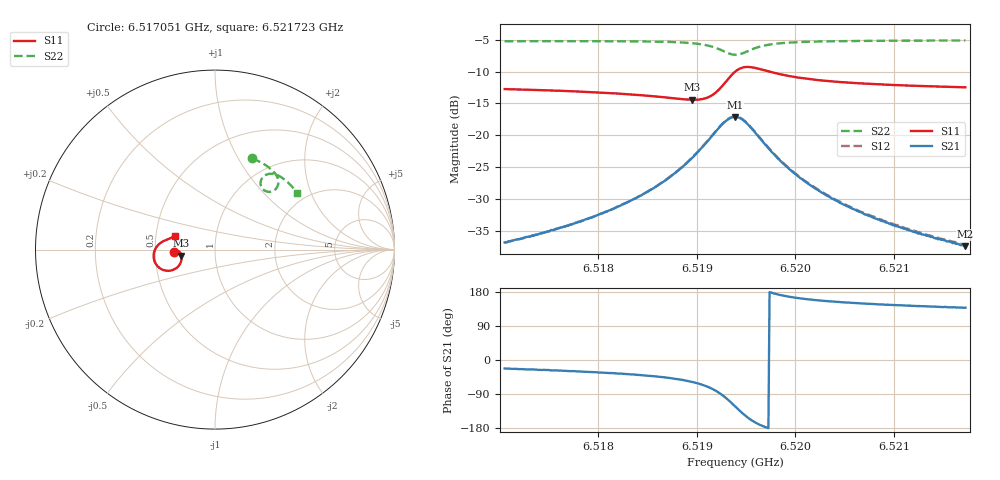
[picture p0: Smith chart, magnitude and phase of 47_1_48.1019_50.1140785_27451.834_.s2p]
#  HZ  S  RI  R  50.00
! Rohde & Schwarz Vector Network Analyzer
! Rohde-Schwarz,ZNB20-2Port,1311601062101988,3.16
! Created: UTC 12/23/2023, 3:39:22 AM
! freq[Hz]  re:S11  im:S11  re:S21  im:S21  re:S12  im:S12  re:S22  im:S22
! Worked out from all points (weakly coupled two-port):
!   401 points, 6.517051 GHz to 6.521723 GHz, reference 50 ohm
!   highest |S21| = -17.11 dB at 6.519387 GHz (marker M1); lowest = -37.4 dB at 6.521723 GHz (marker M2)
!   lowest |S11| = -14.4 dB at 6.518955 GHz (marker M3), VSWR 1.47, Z = 34.2 - j2.34 ohm
!   |S11| at or under -10 dB: start of sweep to 6.519389 GHz; 6.51974 GHz to end of sweep
!   |S22| runs from -7.3 to -5.1 dB; largest |S21 - S12| = 0.0042
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6.5170515e9  -0.2304 -0.0161  0.0133 -0.0055  0.0134 -0.00504  0.2075 0.5077
6.5175069e9  -0.2251 -0.00973  0.0157 -0.00798  0.0161 -0.00747  0.2411 0.4932
6.5178339e9  -0.2203 -0.00615  0.0183 -0.0108  0.0187 -0.0102  0.2652 0.4804
6.5183244e9  -0.2098 -0.00458  0.0241 -0.0187  0.0247 -0.0179  0.3022 0.4564
6.5186164e9  -0.2006 -0.00935  0.0293 -0.0287  0.0304 -0.0278  0.3249 0.4364
6.5188032e9  -0.1931 -0.0182  0.0333 -0.0403  0.0347 -0.0394  0.3396 0.4183
6.518955e9  -0.1874 -0.033  0.0353 -0.0567  0.0373 -0.0558  0.3496 0.3972
6.5190602e9  -0.186 -0.051  0.0334 -0.0742  0.0358 -0.0738  0.353 0.3771
6.5191536e9  -0.1922 -0.0745  0.0242 -0.0957  0.0271 -0.0958  0.3491 0.3545
6.5192237e9  -0.2072 -0.096  0.0076 -0.1141  0.0109 -0.1147  0.3372 0.3361
6.5192937e9  -0.2372 -0.1143  -0.022 -0.1276  -0.0185 -0.1292  0.3141 0.323
6.5193872e9  -0.2956 -0.1105  -0.0742 -0.1181  -0.0715 -0.1212  0.2736 0.3306
6.5194455e9  -0.3256 -0.0857  -0.0984 -0.0932  -0.0964 -0.0966  0.2572 0.3519
6.5195039e9  -0.3402 -0.0533  -0.1076 -0.0635  -0.1066 -0.067  0.2542 0.3763
6.5195974e9  -0.3378 -0.00912  -0.1005 -0.0258  -0.1007 -0.029  0.2682 0.4052
6.5196908e9  -0.323 0.018  -0.085 -0.00486  -0.0856 -0.00742  0.2889 0.4184
6.5199127e9  -0.2913 0.0449  -0.0554 0.0116  -0.0562 0.0101  0.3288 0.4206
6.5201696e9  -0.2694 0.0549  -0.0371 0.0142  -0.0379 0.0133  0.3592 0.4092
6.5204732e9  -0.2543 0.0608  -0.0257 0.0134  -0.0265 0.0129  0.3853 0.3919
6.5209521e9  -0.2399 0.068  -0.0166 0.0114  -0.0172 0.0111  0.417 0.3637
6.5212557e9  -0.2334 0.0723  -0.0134 0.0103  -0.014 0.0102  0.434 0.3454
6.5217228e9  -0.225 0.0785  -0.01 0.009  -0.0104 0.009  0.4575 0.3165
